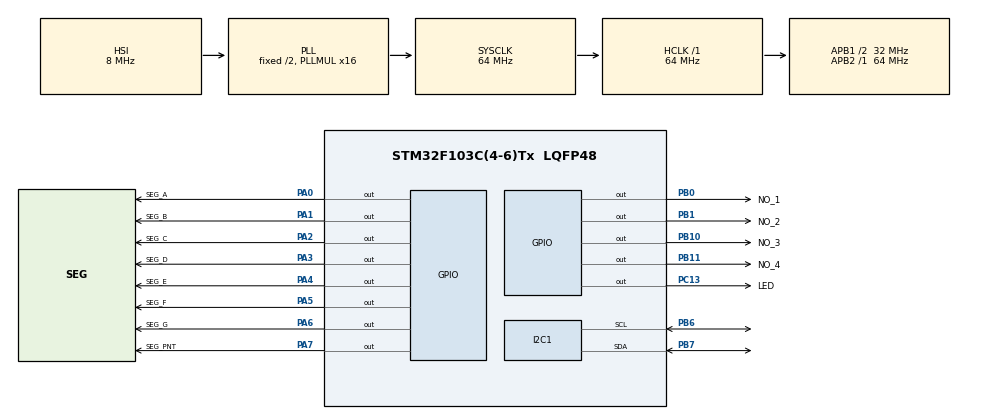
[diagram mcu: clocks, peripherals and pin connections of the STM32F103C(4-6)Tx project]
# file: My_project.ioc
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Mcu.Family=STM32F1
Mcu.Name=STM32F103C(4-6)Tx
Mcu.Package=LQFP48
NVIC.PriorityGroup=NVIC_PRIORITYGROUP_4
PA0-WKUP.GPIO_Label=SEG_A
PA0-WKUP.Signal=GPIO_Output
PA1.GPIO_Label=SEG_B
PA1.Signal=GPIO_Output
PA13.Mode=Trace_Asynchronous_SW
PA13.Signal=SYS_JTMS-SWDIO
PA14.Mode=Trace_Asynchronous_SW
PA14.Signal=SYS_JTCK-SWCLK
PA2.GPIO_Label=SEG_C
PA2.Signal=GPIO_Output
PA3.GPIO_Label=SEG_D
PA3.Signal=GPIO_Output
PA4.GPIO_Label=SEG_E
PA4.Signal=GPIO_Output
PA5.GPIO_Label=SEG_F
PA5.Signal=GPIO_Output
PA6.GPIO_Label=SEG_G
PA6.Signal=GPIO_Output
PA7.GPIO_Label=SEG_PNT
PA7.Signal=GPIO_Output
PB0.GPIO_Label=NO_1
PB0.Signal=GPIO_Output
PB1.GPIO_Label=NO_2
PB1.Signal=GPIO_Output
PB10.GPIO_Label=NO_3
PB10.Signal=GPIO_Output
PB11.GPIO_Label=NO_4
PB11.Signal=GPIO_Output
PB3.Mode=Trace_Asynchronous_SW
PB3.Signal=SYS_JTDO-TRACESWO
PB6.Mode=I2C
PB6.Signal=I2C1_SCL
PB7.Mode=I2C
PB7.Signal=I2C1_SDA
PC13-TAMPER-RTC.GPIO_Label=LED
PC13-TAMPER-RTC.GPIO_ModeDefaultOutputPP=GPIO_MODE_OUTPUT_OD
PC13-TAMPER-RTC.GPIO_PuPd=GPIO_NOPULL
PC13-TAMPER-RTC.Signal=GPIO_Output
ProjectManager.HeapSize=0x200
ProjectManager.StackSize=0x400
ProjectManager.TargetToolchain=Makefile
RCC.AHBFreq_Value=64000000
RCC.APB1CLKDivider=RCC_HCLK_DIV2
RCC.APB1Freq_Value=32000000
RCC.APB1TimFreq_Value=64000000
RCC.APB2Freq_Value=64000000
RCC.APB2TimFreq_Value=64000000
RCC.HCLKFreq_Value=64000000
RCC.PLLMUL=RCC_PLL_MUL16
RCC.SYSCLKFreq_VALUE=64000000
RCC.SYSCLKSource=RCC_SYSCLKSOURCE_PLLCLK
RCC.USBFreq_Value=64000000
board=custom

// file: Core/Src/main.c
/* USER CODE BEGIN Header */
/**
 ******************************************************************************
 * @file           : main.c
 * @brief          : Main program body
 ******************************************************************************
 * @attention
 *
 * Copyright (c) 2024 STMicroelectronics.
 * All rights reserved.
 *
 * This software is licensed under terms that can be found in the LICENSE file
 * in the root directory of this software component.
 * If no LICENSE file comes with this software, it is provided AS-IS.
 *
 ******************************************************************************
 */
/* USER CODE END Header */
#include "main.h"

/* USER CODE BEGIN Includes */
#include "eightsegdisp.h"
#include "bmp280.h"
/* USER CODE END Includes */

I2C_HandleTypeDef hi2c1;

void SystemClock_Config(void);
static void MX_GPIO_Init(void);
static void MX_I2C1_Init(void);

/* USER CODE BEGIN 0 */
void float_to_array(float num, uint8_t *arr, uint8_t size)
{
  int mult = 1;
  for (uint8_t i = 0; i < size - 2; i++)
    mult *= 10;
  int scaled = (int)(num * mult + 0.5f);
  for (int i = size - 1; i >= 0; i--)
  {
    arr[i] = scaled % 10;
    scaled /= 10;
  }
}
/* USER CODE END 0 */

int main(void)
{

  /* MCU Configuration--------------------------------------------------------*/

  /* Reset of all peripherals, Initializes the Flash interface and the Systick. */
  HAL_Init();

  /* Configure the system clock */
  SystemClock_Config();

  /* USER CODE BEGIN SysInit */
  BMP280_HandleTypedef bmp280;
  /* USER CODE END SysInit */

  /* Initialize all configured peripherals */
  MX_GPIO_Init();
  MX_I2C1_Init();
  /* USER CODE BEGIN 2 */
  disp_seg_pins_t display = {
      .seg_a = {GPIOA, SEG_A_Pin},
      .seg_b = {GPIOA, SEG_B_Pin},
      .seg_c = {GPIOA, SEG_C_Pin},
      .seg_d = {GPIOA, SEG_D_Pin},
      .seg_e = {GPIOA, SEG_E_Pin},
      .seg_f = {GPIOA, SEG_F_Pin},
      .seg_g = {GPIOA, SEG_G_Pin},
      .point = {GPIOA, SEG_PNT_Pin},
      .disp1 = {GPIOB, NO_1_Pin},
      .disp2 = {GPIOB, NO_2_Pin},
      .disp3 = {GPIOB, NO_3_Pin},
      .disp4 = {GPIOB, NO_4_Pin}};

  bmp280_init_default_params(&bmp280.params);
  bmp280.addr = BMP280_I2C_ADDRESS_0;
  bmp280.i2c = &hi2c1;
  bmp280_init(&bmp280, &bmp280.params);
  /* USER CODE END 2 */

  /* Infinite loop */
  /* USER CODE BEGIN WHILE */
  uint32_t global_time = 0;
  fonts_t fonts_[] = {font_hex, font_hex, font_hex, font_spec};
  float pressure, temperature, humidity;
  uint8_t disp_write[] = {1, 2, 3, 6};
  uint8_t mask[] = {0, 0, 0};
  uint8_t dot = 0;
  uint8_t this_state = 0;
  while (1)
  {
    if (HAL_GetTick() - global_time > 1000)
    {
      this_state < 20 ? this_state++ : (this_state = 0);
      global_time = HAL_GetTick();
      bmp280_read_float(&bmp280, &temperature, &pressure, &humidity);
      if (this_state < 10)
      {
        dot = 2;
        disp_write[3] = 2;
        float_to_array(temperature, mask, 3);
      }
      else
      {
        disp_write[3] = 8;
        float_to_array(pressure > 99999.9f ? pressure / 10e3 : pressure / 10e2, mask, 3);
        mask[0] == 1 ? dot = 0 : (dot = 2);
      }
      for (uint8_t i = 0; i < 3; i++)
        disp_write[i] = mask[i];
    }

    disp_print(&display, disp_write, dot, fonts_, 50);
    /* USER CODE END WHILE */

  }
}

void SystemClock_Config(void)
{
  RCC_OscInitTypeDef RCC_OscInitStruct = {0};
  RCC_ClkInitTypeDef RCC_ClkInitStruct = {0};

  /** Initializes the RCC Oscillators according to the specified parameters
   * in the RCC_OscInitTypeDef structure.
   */
  RCC_OscInitStruct.OscillatorType = RCC_OSCILLATORTYPE_HSI;
  RCC_OscInitStruct.HSIState = RCC_HSI_ON;
  RCC_OscInitStruct.HSICalibrationValue = RCC_HSICALIBRATION_DEFAULT;
  RCC_OscInitStruct.PLL.PLLState = RCC_PLL_ON;
  RCC_OscInitStruct.PLL.PLLSource = RCC_PLLSOURCE_HSI_DIV2;
  RCC_OscInitStruct.PLL.PLLMUL = RCC_PLL_MUL16;
  if (HAL_RCC_OscConfig(&RCC_OscInitStruct) != HAL_OK)
  {
    Error_Handler();
  }

  /** Initializes the CPU, AHB and APB buses clocks
   */
  RCC_ClkInitStruct.ClockType = RCC_CLOCKTYPE_HCLK | RCC_CLOCKTYPE_SYSCLK | RCC_CLOCKTYPE_PCLK1 | RCC_CLOCKTYPE_PCLK2;
  RCC_ClkInitStruct.SYSCLKSource = RCC_SYSCLKSOURCE_PLLCLK;
  RCC_ClkInitStruct.AHBCLKDivider = RCC_SYSCLK_DIV1;
  RCC_ClkInitStruct.APB1CLKDivider = RCC_HCLK_DIV2;
  RCC_ClkInitStruct.APB2CLKDivider = RCC_HCLK_DIV1;

  if (HAL_RCC_ClockConfig(&RCC_ClkInitStruct, FLASH_LATENCY_2) != HAL_OK)
  {
    Error_Handler();
  }
}

static void MX_I2C1_Init(void)
{

  hi2c1.Instance = I2C1;
  hi2c1.Init.ClockSpeed = 100000;
  hi2c1.Init.DutyCycle = I2C_DUTYCYCLE_2;
  hi2c1.Init.OwnAddress1 = 0;
  hi2c1.Init.AddressingMode = I2C_ADDRESSINGMODE_7BIT;
  hi2c1.Init.DualAddressMode = I2C_DUALADDRESS_DISABLE;
  hi2c1.Init.OwnAddress2 = 0;
  hi2c1.Init.GeneralCallMode = I2C_GENERALCALL_DISABLE;
  hi2c1.Init.NoStretchMode = I2C_NOSTRETCH_DISABLE;
  if (HAL_I2C_Init(&hi2c1) != HAL_OK)
  {
    Error_Handler();
  }
}

static void MX_GPIO_Init(void)
{
  GPIO_InitTypeDef GPIO_InitStruct = {0};

  /* GPIO Ports Clock Enable */
  __HAL_RCC_GPIOC_CLK_ENABLE();
  __HAL_RCC_GPIOA_CLK_ENABLE();
  __HAL_RCC_GPIOB_CLK_ENABLE();

  /*Configure GPIO pin Output Level */
  HAL_GPIO_WritePin(LED_GPIO_Port, LED_Pin, GPIO_PIN_RESET);

  /*Configure GPIO pin Output Level */
  HAL_GPIO_WritePin(GPIOA, SEG_A_Pin | SEG_B_Pin | SEG_C_Pin | SEG_D_Pin | SEG_E_Pin | SEG_F_Pin | SEG_G_Pin | SEG_PNT_Pin, GPIO_PIN_RESET);

  /*Configure GPIO pin Output Level */
  HAL_GPIO_WritePin(GPIOB, NO_1_Pin | NO_2_Pin | NO_3_Pin | NO_4_Pin, GPIO_PIN_RESET);

  /*Configure GPIO pin : LED_Pin */
  GPIO_InitStruct.Pin = LED_Pin;
  GPIO_InitStruct.Mode = GPIO_MODE_OUTPUT_OD;
  GPIO_InitStruct.Pull = GPIO_NOPULL;
  GPIO_InitStruct.Speed = GPIO_SPEED_FREQ_LOW;
  HAL_GPIO_Init(LED_GPIO_Port, &GPIO_InitStruct);

  /*Configure GPIO pins : SEG_A_Pin SEG_B_Pin SEG_C_Pin SEG_D_Pin
                           SEG_E_Pin SEG_F_Pin SEG_G_Pin SEG_PNT_Pin */
  GPIO_InitStruct.Pin = SEG_A_Pin | SEG_B_Pin | SEG_C_Pin | SEG_D_Pin | SEG_E_Pin | SEG_F_Pin | SEG_G_Pin | SEG_PNT_Pin;
  GPIO_InitStruct.Mode = GPIO_MODE_OUTPUT_PP;
  GPIO_InitStruct.Pull = GPIO_NOPULL;
  GPIO_InitStruct.Speed = GPIO_SPEED_FREQ_LOW;
  HAL_GPIO_Init(GPIOA, &GPIO_InitStruct);

  /*Configure GPIO pins : NO_1_Pin NO_2_Pin NO_3_Pin NO_4_Pin */
  GPIO_InitStruct.Pin = NO_1_Pin | NO_2_Pin | NO_3_Pin | NO_4_Pin;
  GPIO_InitStruct.Mode = GPIO_MODE_OUTPUT_PP;
  GPIO_InitStruct.Pull = GPIO_NOPULL;
  GPIO_InitStruct.Speed = GPIO_SPEED_FREQ_LOW;
  HAL_GPIO_Init(GPIOB, &GPIO_InitStruct);

}

void Error_Handler(void)
{
  __disable_irq();
  while (1)
  {
  }
}
